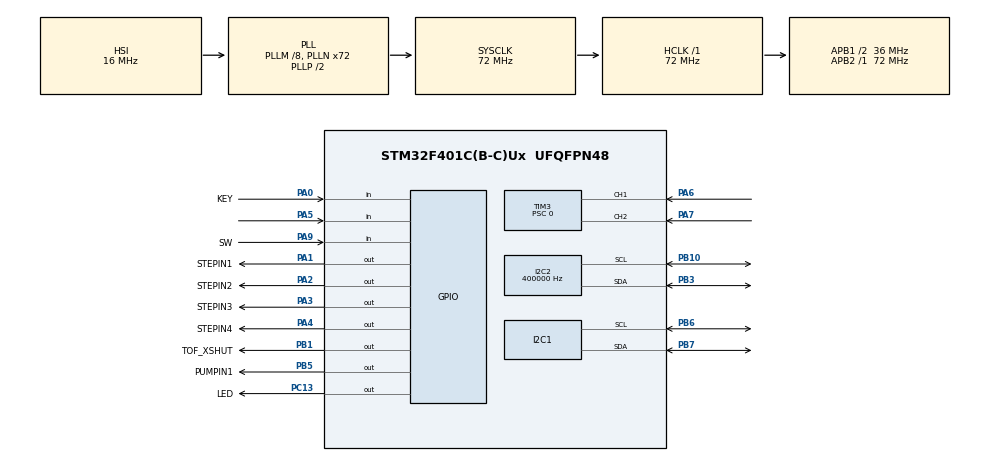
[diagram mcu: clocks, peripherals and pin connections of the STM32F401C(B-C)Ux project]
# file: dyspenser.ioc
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FREERTOS.Tasks01=mainTask,24,128,StartMainTask,Default,NULL,Dynamic,NULL,NULL;debouncingTask,24,128,StartDebouncingTask,Default,NULL,Dynamic,NULL,NULL;pumpTask,24,128,StartPumpTask,Default,NULL,Dynamic,NULL,NULL;oledTask,24,128,StartOledTask,Default,NULL,Dynamic,NULL,NULL
FREERTOS.configUSE_NEWLIB_REENTRANT=1
I2C1.I2C_Mode=I2C_Fast
I2C2.ClockSpeed=400000
I2C2.I2C_Mode=I2C_Fast
Mcu.Family=STM32F4
Mcu.Name=STM32F401C(B-C)Ux
Mcu.Package=UFQFPN48
NVIC.PriorityGroup=NVIC_PRIORITYGROUP_4
NVIC.TIM1_UP_TIM10_IRQn=true\:15\:0\:false\:false\:true\:false\:false\:true\:true
NVIC.TIM2_IRQn=true\:5\:0\:false\:false\:true\:true\:true\:true\:true
NVIC.TIM3_IRQn=true\:5\:0\:false\:false\:true\:true\:true\:true\:true
NVIC.TimeBase=TIM1_UP_TIM10_IRQn
NVIC.TimeBaseIP=TIM1
PA0-WKUP.GPIO_Label=KEY
PA0-WKUP.Signal=GPIO_Input
PA1.GPIO_Label=STEPIN1
PA1.Signal=GPIO_Output
PA13.Mode=Serial_Wire
PA13.Signal=SYS_JTMS-SWDIO
PA14.Mode=Serial_Wire
PA14.Signal=SYS_JTCK-SWCLK
PA2.GPIO_Label=STEPIN2
PA2.Signal=GPIO_Output
PA3.GPIO_Label=STEPIN3
PA3.Signal=GPIO_Output
PA4.GPIO_Label=STEPIN4
PA4.Signal=GPIO_Output
PA5.Signal=GPIO_Input
PA6.GPIO_PuPd=GPIO_PULLUP
PA6.GPIO_Speed=GPIO_SPEED_FREQ_VERY_HIGH
PA6.Signal=S_TIM3_CH1
PA7.GPIO_PuPd=GPIO_PULLUP
PA7.GPIO_Speed=GPIO_SPEED_FREQ_VERY_HIGH
PA7.Signal=S_TIM3_CH2
PA9.GPIO_Label=SW
PA9.GPIO_PuPd=GPIO_PULLUP
PA9.Signal=GPIO_Input
PB1.GPIO_Label=TOF_XSHUT
PB1.Signal=GPIO_Output
PB10.Mode=I2C
PB10.Signal=I2C2_SCL
PB3.Mode=I2C
PB3.Signal=I2C2_SDA
PB5.GPIO_Label=PUMPIN1
PB5.Signal=GPIO_Output
PB6.Mode=I2C
PB6.Signal=I2C1_SCL
PB7.Mode=I2C
PB7.Signal=I2C1_SDA
PC13-ANTI_TAMP.GPIO_Label=LED
PC13-ANTI_TAMP.PinState=GPIO_PIN_SET
PC13-ANTI_TAMP.Signal=GPIO_Output
PH0\ -\ OSC_IN.Mode=HSE-External-Oscillator
PH0\ -\ OSC_IN.Signal=RCC_OSC_IN
PH1\ -\ OSC_OUT.Mode=HSE-External-Oscillator
PH1\ -\ OSC_OUT.Signal=RCC_OSC_OUT
ProjectManager.HeapSize=0x200
ProjectManager.StackSize=0x400
ProjectManager.TargetToolchain=STM32CubeIDE
RCC.48MHZClocksFreq_Value=36000000
RCC.AHBFreq_Value=72000000
RCC.APB1CLKDivider=RCC_HCLK_DIV2
RCC.APB1Freq_Value=36000000
RCC.APB1TimFreq_Value=72000000
RCC.APB2Freq_Value=72000000
RCC.APB2TimFreq_Value=72000000
RCC.CortexFreq_Value=72000000
RCC.HCLKFreq_Value=72000000
RCC.HSE_VALUE=25000000
RCC.HSI_VALUE=16000000
RCC.LSE_VALUE=32768
RCC.PLLM=8
RCC.PLLN=72
RCC.SYSCLKFreq_VALUE=72000000
RCC.SYSCLKSource=RCC_SYSCLKSOURCE_PLLCLK
RCC.VCOOutputFreq_Value=144000000
SH.S_TIM3_CH1.0=TIM3_CH1,Encoder_Interface
SH.S_TIM3_CH2.0=TIM3_CH2,Encoder_Interface
TIM10.ClockDivision=TIM_CLOCKDIVISION_DIV1
TIM10.Period=3599
TIM10.Prescaler=19999
TIM11.Period=35999
TIM11.Prescaler=499
TIM2.Period=65535
TIM2.Prescaler=71
TIM3.AutoReloadPreload=TIM_AUTORELOAD_PRELOAD_DISABLE
TIM3.ClockDivision=TIM_CLOCKDIVISION_DIV1
TIM3.EncoderMode=TIM_ENCODERMODE_TI12
TIM3.IC1Filter=0
TIM3.IC1Polarity=TIM_ICPOLARITY_FALLING
TIM3.IC2Polarity=TIM_ICPOLARITY_FALLING
TIM3.Period=1000
TIM3.Prescaler=0
TIM3.TIM_MasterOutputTrigger=TIM_TRGO_RESET
VP_FREERTOS_VS_CMSIS_V2.Mode=CMSIS_V2
VP_SYS_VS_tim1.Mode=TIM1
VP_TIM10_VS_ClockSourceINT.Mode=Enable_Timer
VP_TIM11_VS_ClockSourceINT.Mode=Enable_Timer
VP_TIM2_VS_ClockSourceINT.Mode=Internal
VP_TIM4_VS_OPM.Mode=OPM_bit
board=custom

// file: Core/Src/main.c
/* USER CODE BEGIN Header */
/**
 ******************************************************************************
 * @file           : main.c
 * @brief          : Main program body
 ******************************************************************************
 * @attention
 *
 * Copyright (c) 2022 STMicroelectronics.
 * All rights reserved.
 *
 * This software is licensed under terms that can be found in the LICENSE file
 * in the root directory of this software component.
 * If no LICENSE file comes with this software, it is provided AS-IS.
 *
 ******************************************************************************
 */
/* USER CODE END Header */
#include "main.h"
#include "cmsis_os.h"

/* USER CODE BEGIN Includes */
#include "ssd1306.h"
#include "encoder.h"
#include "gui.h"
#include "stepper.h"
#include "tof.h"
#include "stepper_motor.h"
#include "pump.h"
/* USER CODE END Includes */

I2C_HandleTypeDef hi2c1;
I2C_HandleTypeDef hi2c2;

TIM_HandleTypeDef htim2;
TIM_HandleTypeDef htim3;
TIM_HandleTypeDef htim4;
TIM_HandleTypeDef htim10;
TIM_HandleTypeDef htim11;

/* Definitions for mainTask */
osThreadId_t mainTaskHandle;
const osThreadAttr_t mainTask_attributes = {
  .name = "mainTask",
  .stack_size = 128 * 4,
  .priority = (osPriority_t) osPriorityNormal,
};
/* Definitions for debouncingTask */
osThreadId_t debouncingTaskHandle;
const osThreadAttr_t debouncingTask_attributes = {
  .name = "debouncingTask",
  .stack_size = 128 * 4,
  .priority = (osPriority_t) osPriorityNormal,
};
/* Definitions for pumpTask */
osThreadId_t pumpTaskHandle;
const osThreadAttr_t pumpTask_attributes = {
  .name = "pumpTask",
  .stack_size = 128 * 4,
  .priority = (osPriority_t) osPriorityNormal,
};
/* Definitions for oledTask */
osThreadId_t oledTaskHandle;
const osThreadAttr_t oledTask_attributes = {
  .name = "oledTask",
  .stack_size = 128 * 4,
  .priority = (osPriority_t) osPriorityNormal,
};
/* USER CODE BEGIN PV */
uint16_t distance = 0;
uint8_t Steppers_Dir = DIR_CW;
/* USER CODE END PV */

void SystemClock_Config(void);
static void MX_GPIO_Init(void);
static void MX_TIM2_Init(void);
static void MX_TIM3_Init(void);
static void MX_I2C1_Init(void);
static void MX_TIM10_Init(void);
static void MX_TIM4_Init(void);
static void MX_TIM11_Init(void);
static void MX_I2C2_Init(void);
void StartMainTask(void *argument);
void StartDebouncingTask(void *argument);
void StartPumpTask(void *argument);
void StartOledTask(void *argument);

/* USER CODE BEGIN 0 */

uint32_t encoderPosition = 0;

void HAL_TIM_IC_CaptureCallback(TIM_HandleTypeDef *htim)
{
	encoderPosition = __HAL_TIM_GET_COUNTER(&htim3) >>2;
}

enum DeviceStatus {
	Idle, Pouring
} status;

GuiState statusOled = StartLayer;

enum MenuStatus {
	Start,
	Settings
} statusMenu;

int16_t counter = 0;
uint16_t key_state = 1;
int press = 0;
int liquidVolume = 24;
int tempLiquidVolume = 24;
char volume[] = "  ";
char distancemm[] = "    ";

/* USER CODE END 0 */

int main(void)
{

  /* MCU Configuration--------------------------------------------------------*/

  /* Reset of all peripherals, Initializes the Flash interface and the Systick. */
  HAL_Init();

  /* Configure the system clock */
  SystemClock_Config();

  /* Initialize all configured peripherals */
  MX_GPIO_Init();
  MX_TIM2_Init();
  MX_TIM3_Init();
  MX_I2C1_Init();
  MX_TIM10_Init();
  MX_TIM4_Init();
  MX_TIM11_Init();
  MX_I2C2_Init();
  /* USER CODE BEGIN 2 */

	STEPPERS_Init_TMR(&htim2);

    STEPPER_Step_NonBlocking(0, 8192, Steppers_Dir);
	//HAL_TIM_Base_Start(&htim2);
	HAL_TIM_Encoder_Start_IT(&htim3, TIM_CHANNEL_ALL);
	SSD1306_Init();
	TIM10->EGR = TIM_EGR_UG; /* Force update for prescaler value. */
	TIM10->SR = 0; /* Clear update flag. */
	TIM11->EGR = TIM_EGR_UG; /* Force update for prescaler value. */
	TIM11->SR = 0; /* Clear update flag. */
	TIM2->EGR = TIM_EGR_UG; /* Force update for prescaler value. */
	TIM2->SR = 0; /* Clear update flag. */

	HAL_GPIO_WritePin(TOF_XSHUT_GPIO_Port, TOF_XSHUT_Pin, GPIO_PIN_RESET); // Disable XSHUT
	HAL_Delay(20);
	HAL_GPIO_WritePin(TOF_XSHUT_GPIO_Port, TOF_XSHUT_Pin, GPIO_PIN_SET); // Enable XSHUT
	HAL_Delay(20);

	tofInit(1); // set long range mode (up to 2m)

  /* USER CODE END 2 */

  /* Init scheduler */
  osKernelInitialize();

  /* Create the thread(s) */
  /* creation of mainTask */
  mainTaskHandle = osThreadNew(StartMainTask, NULL, &mainTask_attributes);

  /* creation of debouncingTask */
  debouncingTaskHandle = osThreadNew(StartDebouncingTask, NULL, &debouncingTask_attributes);

  /* creation of pumpTask */
  pumpTaskHandle = osThreadNew(StartPumpTask, NULL, &pumpTask_attributes);

  /* creation of oledTask */
  oledTaskHandle = osThreadNew(StartOledTask, NULL, &oledTask_attributes);

  /* Start scheduler */
  osKernelStart();

  /* We should never get here as control is now taken by the scheduler */
  /* Infinite loop */
	while (1) {

	}
}

void SystemClock_Config(void)
{
  RCC_OscInitTypeDef RCC_OscInitStruct = {0};
  RCC_ClkInitTypeDef RCC_ClkInitStruct = {0};

  /** Configure the main internal regulator output voltage
  */
  __HAL_RCC_PWR_CLK_ENABLE();
  __HAL_PWR_VOLTAGESCALING_CONFIG(PWR_REGULATOR_VOLTAGE_SCALE2);

  /** Initializes the RCC Oscillators according to the specified parameters
  * in the RCC_OscInitTypeDef structure.
  */
  RCC_OscInitStruct.OscillatorType = RCC_OSCILLATORTYPE_HSI;
  RCC_OscInitStruct.HSIState = RCC_HSI_ON;
  RCC_OscInitStruct.HSICalibrationValue = RCC_HSICALIBRATION_DEFAULT;
  RCC_OscInitStruct.PLL.PLLState = RCC_PLL_ON;
  RCC_OscInitStruct.PLL.PLLSource = RCC_PLLSOURCE_HSI;
  RCC_OscInitStruct.PLL.PLLM = 8;
  RCC_OscInitStruct.PLL.PLLN = 72;
  RCC_OscInitStruct.PLL.PLLP = RCC_PLLP_DIV2;
  RCC_OscInitStruct.PLL.PLLQ = 4;
  if (HAL_RCC_OscConfig(&RCC_OscInitStruct) != HAL_OK)
  {
    Error_Handler();
  }

  /** Initializes the CPU, AHB and APB buses clocks
  */
  RCC_ClkInitStruct.ClockType = RCC_CLOCKTYPE_HCLK|RCC_CLOCKTYPE_SYSCLK
                              |RCC_CLOCKTYPE_PCLK1|RCC_CLOCKTYPE_PCLK2;
  RCC_ClkInitStruct.SYSCLKSource = RCC_SYSCLKSOURCE_PLLCLK;
  RCC_ClkInitStruct.AHBCLKDivider = RCC_SYSCLK_DIV1;
  RCC_ClkInitStruct.APB1CLKDivider = RCC_HCLK_DIV2;
  RCC_ClkInitStruct.APB2CLKDivider = RCC_HCLK_DIV1;

  if (HAL_RCC_ClockConfig(&RCC_ClkInitStruct, FLASH_LATENCY_2) != HAL_OK)
  {
    Error_Handler();
  }
}

static void MX_I2C1_Init(void)
{

  hi2c1.Instance = I2C1;
  hi2c1.Init.ClockSpeed = 400000;
  hi2c1.Init.DutyCycle = I2C_DUTYCYCLE_2;
  hi2c1.Init.OwnAddress1 = 0;
  hi2c1.Init.AddressingMode = I2C_ADDRESSINGMODE_7BIT;
  hi2c1.Init.DualAddressMode = I2C_DUALADDRESS_DISABLE;
  hi2c1.Init.OwnAddress2 = 0;
  hi2c1.Init.GeneralCallMode = I2C_GENERALCALL_DISABLE;
  hi2c1.Init.NoStretchMode = I2C_NOSTRETCH_DISABLE;
  if (HAL_I2C_Init(&hi2c1) != HAL_OK)
  {
    Error_Handler();
  }

}

static void MX_I2C2_Init(void)
{

  hi2c2.Instance = I2C2;
  hi2c2.Init.ClockSpeed = 400000;
  hi2c2.Init.DutyCycle = I2C_DUTYCYCLE_2;
  hi2c2.Init.OwnAddress1 = 0;
  hi2c2.Init.AddressingMode = I2C_ADDRESSINGMODE_7BIT;
  hi2c2.Init.DualAddressMode = I2C_DUALADDRESS_DISABLE;
  hi2c2.Init.OwnAddress2 = 0;
  hi2c2.Init.GeneralCallMode = I2C_GENERALCALL_DISABLE;
  hi2c2.Init.NoStretchMode = I2C_NOSTRETCH_DISABLE;
  if (HAL_I2C_Init(&hi2c2) != HAL_OK)
  {
    Error_Handler();
  }

}

static void MX_TIM2_Init(void)
{

  TIM_ClockConfigTypeDef sClockSourceConfig = {0};
  TIM_MasterConfigTypeDef sMasterConfig = {0};

  htim2.Instance = TIM2;
  htim2.Init.Prescaler = 71;
  htim2.Init.CounterMode = TIM_COUNTERMODE_UP;
  htim2.Init.Period = 65535;
  htim2.Init.ClockDivision = TIM_CLOCKDIVISION_DIV1;
  htim2.Init.AutoReloadPreload = TIM_AUTORELOAD_PRELOAD_DISABLE;
  if (HAL_TIM_Base_Init(&htim2) != HAL_OK)
  {
    Error_Handler();
  }
  sClockSourceConfig.ClockSource = TIM_CLOCKSOURCE_INTERNAL;
  if (HAL_TIM_ConfigClockSource(&htim2, &sClockSourceConfig) != HAL_OK)
  {
    Error_Handler();
  }
  sMasterConfig.MasterOutputTrigger = TIM_TRGO_RESET;
  sMasterConfig.MasterSlaveMode = TIM_MASTERSLAVEMODE_DISABLE;
  if (HAL_TIMEx_MasterConfigSynchronization(&htim2, &sMasterConfig) != HAL_OK)
  {
    Error_Handler();
  }

}

static void MX_TIM3_Init(void)
{

  TIM_Encoder_InitTypeDef sConfig = {0};
  TIM_MasterConfigTypeDef sMasterConfig = {0};

  htim3.Instance = TIM3;
  htim3.Init.Prescaler = 0;
  htim3.Init.CounterMode = TIM_COUNTERMODE_UP;
  htim3.Init.Period = 1000;
  htim3.Init.ClockDivision = TIM_CLOCKDIVISION_DIV1;
  htim3.Init.AutoReloadPreload = TIM_AUTORELOAD_PRELOAD_DISABLE;
  sConfig.EncoderMode = TIM_ENCODERMODE_TI12;
  sConfig.IC1Polarity = TIM_ICPOLARITY_FALLING;
  sConfig.IC1Selection = TIM_ICSELECTION_DIRECTTI;
  sConfig.IC1Prescaler = TIM_ICPSC_DIV1;
  sConfig.IC1Filter = 0;
  sConfig.IC2Polarity = TIM_ICPOLARITY_FALLING;
  sConfig.IC2Selection = TIM_ICSELECTION_DIRECTTI;
  sConfig.IC2Prescaler = TIM_ICPSC_DIV1;
  sConfig.IC2Filter = 0;
  if (HAL_TIM_Encoder_Init(&htim3, &sConfig) != HAL_OK)
  {
    Error_Handler();
  }
  sMasterConfig.MasterOutputTrigger = TIM_TRGO_RESET;
  sMasterConfig.MasterSlaveMode = TIM_MASTERSLAVEMODE_DISABLE;
  if (HAL_TIMEx_MasterConfigSynchronization(&htim3, &sMasterConfig) != HAL_OK)
  {
    Error_Handler();
  }

}

static void MX_TIM4_Init(void)
{

  TIM_MasterConfigTypeDef sMasterConfig = {0};

  htim4.Instance = TIM4;
  htim4.Init.Prescaler = 0;
  htim4.Init.CounterMode = TIM_COUNTERMODE_UP;
  htim4.Init.Period = 65535;
  htim4.Init.ClockDivision = TIM_CLOCKDIVISION_DIV1;
  htim4.Init.AutoReloadPreload = TIM_AUTORELOAD_PRELOAD_DISABLE;
  if (HAL_TIM_OnePulse_Init(&htim4, TIM_OPMODE_SINGLE) != HAL_OK)
  {
    Error_Handler();
  }
  sMasterConfig.MasterOutputTrigger = TIM_TRGO_RESET;
  sMasterConfig.MasterSlaveMode = TIM_MASTERSLAVEMODE_DISABLE;
  if (HAL_TIMEx_MasterConfigSynchronization(&htim4, &sMasterConfig) != HAL_OK)
  {
    Error_Handler();
  }

}

static void MX_TIM10_Init(void)
{

  htim10.Instance = TIM10;
  htim10.Init.Prescaler = 19999;
  htim10.Init.CounterMode = TIM_COUNTERMODE_UP;
  htim10.Init.Period = 3599;
  htim10.Init.ClockDivision = TIM_CLOCKDIVISION_DIV1;
  htim10.Init.AutoReloadPreload = TIM_AUTORELOAD_PRELOAD_DISABLE;
  if (HAL_TIM_Base_Init(&htim10) != HAL_OK)
  {
    Error_Handler();
  }

}

static void MX_TIM11_Init(void)
{

  htim11.Instance = TIM11;
  htim11.Init.Prescaler = 499;
  htim11.Init.CounterMode = TIM_COUNTERMODE_UP;
  htim11.Init.Period = 35999;
  htim11.Init.ClockDivision = TIM_CLOCKDIVISION_DIV1;
  htim11.Init.AutoReloadPreload = TIM_AUTORELOAD_PRELOAD_DISABLE;
  if (HAL_TIM_Base_Init(&htim11) != HAL_OK)
  {
    Error_Handler();
  }

}

static void MX_GPIO_Init(void)
{
  GPIO_InitTypeDef GPIO_InitStruct = {0};

  /* GPIO Ports Clock Enable */
  __HAL_RCC_GPIOC_CLK_ENABLE();
  __HAL_RCC_GPIOH_CLK_ENABLE();
  __HAL_RCC_GPIOA_CLK_ENABLE();
  __HAL_RCC_GPIOB_CLK_ENABLE();

  /*Configure GPIO pin Output Level */
  HAL_GPIO_WritePin(LED_GPIO_Port, LED_Pin, GPIO_PIN_SET);

  /*Configure GPIO pin Output Level */
  HAL_GPIO_WritePin(GPIOA, STEPIN1_Pin|STEPIN2_Pin|STEPIN3_Pin|STEPIN4_Pin, GPIO_PIN_RESET);

  /*Configure GPIO pin Output Level */
  HAL_GPIO_WritePin(GPIOB, TOF_XSHUT_Pin|PUMPIN1_Pin, GPIO_PIN_RESET);

  /*Configure GPIO pin : LED_Pin */
  GPIO_InitStruct.Pin = LED_Pin;
  GPIO_InitStruct.Mode = GPIO_MODE_OUTPUT_PP;
  GPIO_InitStruct.Pull = GPIO_NOPULL;
  GPIO_InitStruct.Speed = GPIO_SPEED_FREQ_LOW;
  HAL_GPIO_Init(LED_GPIO_Port, &GPIO_InitStruct);

  /*Configure GPIO pins : KEY_Pin PA5 */
  GPIO_InitStruct.Pin = KEY_Pin|GPIO_PIN_5;
  GPIO_InitStruct.Mode = GPIO_MODE_INPUT;
  GPIO_InitStruct.Pull = GPIO_NOPULL;
  HAL_GPIO_Init(GPIOA, &GPIO_InitStruct);

  /*Configure GPIO pins : STEPIN1_Pin STEPIN2_Pin STEPIN3_Pin STEPIN4_Pin */
  GPIO_InitStruct.Pin = STEPIN1_Pin|STEPIN2_Pin|STEPIN3_Pin|STEPIN4_Pin;
  GPIO_InitStruct.Mode = GPIO_MODE_OUTPUT_PP;
  GPIO_InitStruct.Pull = GPIO_NOPULL;
  GPIO_InitStruct.Speed = GPIO_SPEED_FREQ_LOW;
  HAL_GPIO_Init(GPIOA, &GPIO_InitStruct);

  /*Configure GPIO pins : TOF_XSHUT_Pin PUMPIN1_Pin */
  GPIO_InitStruct.Pin = TOF_XSHUT_Pin|PUMPIN1_Pin;
  GPIO_InitStruct.Mode = GPIO_MODE_OUTPUT_PP;
  GPIO_InitStruct.Pull = GPIO_NOPULL;
  GPIO_InitStruct.Speed = GPIO_SPEED_FREQ_LOW;
  HAL_GPIO_Init(GPIOB, &GPIO_InitStruct);

  /*Configure GPIO pin : SW_Pin */
  GPIO_InitStruct.Pin = SW_Pin;
  GPIO_InitStruct.Mode = GPIO_MODE_INPUT;
  GPIO_InitStruct.Pull = GPIO_PULLUP;
  HAL_GPIO_Init(SW_GPIO_Port, &GPIO_InitStruct);

}

void StartMainTask(void *argument)
{
  /* USER CODE BEGIN 5 */
	/* Infinite loop */
	for (;;) {
		/*if (distance < 100)
		{
			//stepper_step_angle(45, 13);
		}*/
		osDelay(40 / portTICK_PERIOD_MS);
	}
  /* USER CODE END 5 */
}

void StartDebouncingTask(void *argument)
{
  /* USER CODE BEGIN StartDebouncingTask */

	/* Infinite loop */
	for (;;) {
		GPIO_PinState new_state = HAL_GPIO_ReadPin(SW_GPIO_Port, SW_Pin);

		if (new_state != key_state && new_state == GPIO_PIN_RESET) {
			STEPPER_Stop(0);
			//STEPPER_Step_NonBlocking(0, 2000, Steppers_Dir);
			HAL_GPIO_TogglePin(LED_GPIO_Port, LED_Pin);
			ResetPosition();
			press = 1;
		}
		key_state = new_state;

		//HAL_GPIO_WritePin(LED_GPIO_Port, LED_Pin, new_state);
		osDelay(30 / portTICK_PERIOD_MS);
	}
  /* USER CODE END StartDebouncingTask */
}

void StartPumpTask(void *argument)
{
  /* USER CODE BEGIN StartPumpTask */
	/* Infinite loop */
	for (;;) {
//		if (press == 2) {
//			ChangePumpPourTime(3000);
//			StartPump();
//		} else {
//}
//		HAL_GPIO_TogglePin(LED_GPIO_Port, LED_Pin);
		//distance = (uint16_t)tofReadDistance();
		osDelay(200 / portTICK_PERIOD_MS);
	}
  /* USER CODE END StartPumpTask */
}

void StartOledTask(void *argument)
{
  /* USER CODE BEGIN StartOledTask */
	GuiState old = StartLayer;
	/* Infinite loop */
	for (;;) {

		if(old != statusOled) //TODO: Fix this shit
		{
			SSD1306_Clear();
		}
		old = statusOled;
		SetAnimationTime();
		switch (statusOled) {
		case StartLayer:
			if(press == 1) statusOled = MenuLayer;
			SSD1306_GotoXY(0, 52);
			distancemm[0] = '0' + ((int)distance % 10000/1000);
			distancemm[1] = '0' + ((int)distance % 1000/100);
			distancemm[2] = '0' + ((int)distance % 100/10);
			distancemm[3] = '0' + ((int)distance % 10);
			SSD1306_Puts("Distance:    mm", &Font_7x10, 1);
			SSD1306_GotoXY(62, 52);
			SSD1306_Putc(distancemm[0], &Font_7x10, 1);
			SSD1306_GotoXY(69, 52);
			SSD1306_Putc(distancemm[1], &Font_7x10, 1);
			SSD1306_GotoXY(76, 52);
			SSD1306_Putc(distancemm[2], &Font_7x10, 1);
			SSD1306_GotoXY(83, 52);
			SSD1306_Putc(distancemm[3], &Font_7x10, 1);
			Print(StartLayer);
			break;
		case SettingsLayer:
			if(press == 1) statusOled = MenuLayer;
			liquidVolume = encoderPosition%50;
			SSD1306_GotoXY(10, 0);
			SSD1306_Puts(" SETTINGS ", &Font_11x18, 0);
			SSD1306_GotoXY(0, 52);
			volume[0] = '0' + ((int)liquidVolume % 100 / 10);
			volume[1] = '0' + ((int)liquidVolume % 10);
			SSD1306_Puts("Liquid volume:  ml", &Font_7x10, 1);
			SSD1306_GotoXY(98, 52);
			SSD1306_Putc(volume[0], &Font_7x10, 1);
			SSD1306_GotoXY(105, 52);
			SSD1306_Putc(volume[1], &Font_7x10, 1);
			SSD1306_DrawFilledRectangle(13, 29, liquidVolume*2, 12, 1);
			SSD1306_DrawFilledRectangle(14+liquidVolume*2, 29, 100-liquidVolume*2, 12, 0);
			SSD1306_DrawRectangle(13, 28, 102, 14, 1);
			SSD1306_DrawRectangle(14, 29, 100, 12, 1);
			SSD1306_UpdateScreen();
			break;
		case PutShot:
			if(press == 1) statusOled = Searching;
			SSD1306_GotoXY(0, 53);
			SSD1306_Puts("Put shot to feeder", &Font_7x10, 1);
			if (flagDirectionPut == 1)
			{
				SSD1306_DrawFilledRectangle(20, 0, 75, 50, 0);
				SSD1306_DrawBitmap(25, -animation-12, put, 68, 50, 1);
				SSD1306_DrawBitmap(58, -animation+27, put2, 14, 20, 1);
				SSD1306_UpdateScreen();
			}
			else
			{
				SSD1306_DrawFilledRectangle(20, 0, 75, 50, 0);
				SSD1306_DrawBitmap(25, animation-32, put, 68, 50, 1);
				SSD1306_DrawBitmap(58, 27, put2, 14, 20, 1);
				SSD1306_UpdateScreen();
			}
			break;
		case Searching:
			switch(status)
			{
			case Idle:
				if(press == 1) status = Pouring;
				DrawShotSearching();
				break;
			case Pouring:
				if(press == 1) statusOled = MenuLayer;
				DrawShotFill();
				break;
			}
			break;
		case MenuLayer:
			switch(encoderPosition%2)
			{
			case Start:
				if(press == 1) statusOled = PutShot;
				SSD1306_GotoXY(8, 0);
				SSD1306_Puts("   MENU   ", &Font_11x18, 0);
				SSD1306_GotoXY(35, 20);
				SSD1306_Puts("Start", &Font_11x18, 0);
				SSD1306_GotoXY(19, 39);
				SSD1306_Puts("Settings", &Font_11x18, 1);
				SSD1306_UpdateScreen();
				break;
			case Settings:
				if(press == 1) statusOled = SettingsLayer;
				SSD1306_GotoXY(8, 0);
				SSD1306_Puts("   MENU   ", &Font_11x18, 0);
				SSD1306_GotoXY(35, 20);
				SSD1306_Puts("Start", &Font_11x18, 1);
				SSD1306_GotoXY(19, 39);
				SSD1306_Puts("Settings", &Font_11x18, 0);
				SSD1306_UpdateScreen();
				break;
			}
			break;
		}

			press = 0;
		osDelay(40 / portTICK_PERIOD_MS);
	}
  /* USER CODE END StartOledTask */
}

void HAL_TIM_PeriodElapsedCallback(TIM_HandleTypeDef *htim)
{
  if (htim->Instance == TIM1) {
    HAL_IncTick();
  }
  /* USER CODE BEGIN Callback 1 */
	if (htim->Instance == TIM10) {
		StopPump();
	}

	if (htim->Instance == TIM11) {

	}
//	if(htim->Instance == TIM2){
//		StepperCallback();
//	}
	STEPPER_TMR_OVF_ISR(htim);
  /* USER CODE END Callback 1 */
}

void Error_Handler(void)
{
	__disable_irq();
	while (1) {
	}
}
